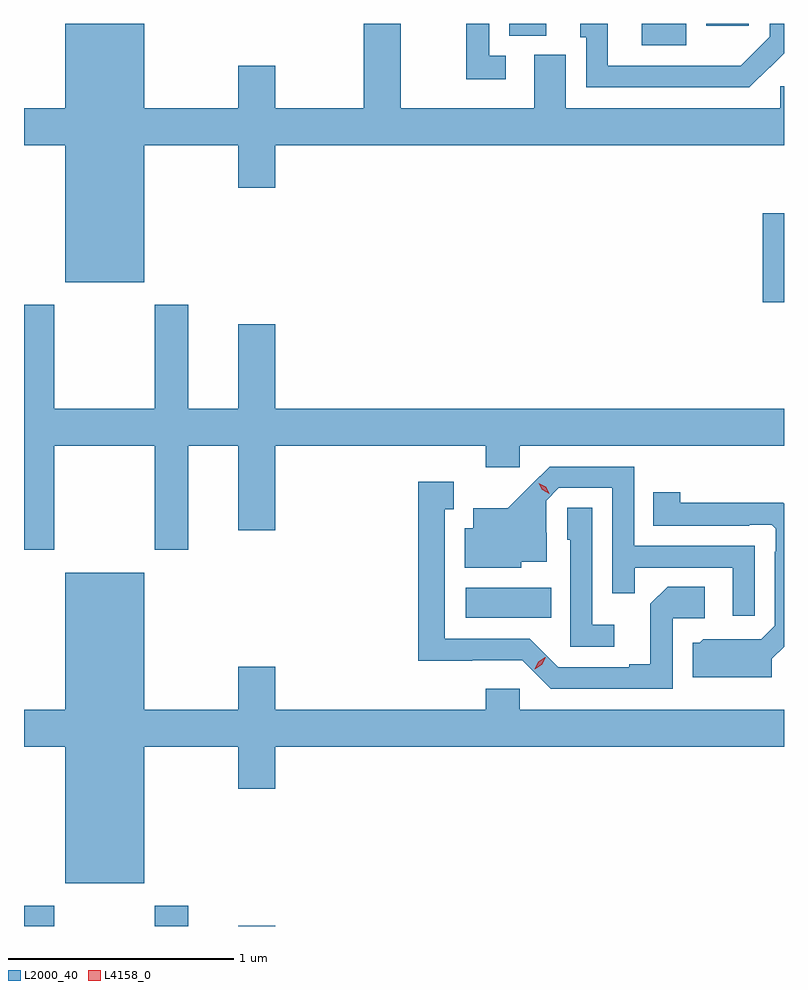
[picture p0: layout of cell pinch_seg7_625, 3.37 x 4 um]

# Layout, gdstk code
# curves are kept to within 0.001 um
import gdstk
lib = gdstk.Library(unit=1e-6, precision=1e-09)
def R(c, l, rs):  # rectangles x0, y0, x1, y1
    for r in rs: c.add(gdstk.rectangle(r[:2], r[2:], *l))
def P(c, l, *ps):  # polygons
    for p in ps: c.add(gdstk.Polygon(p, *l))
L2000_40 = (2000, 40)
L4158_0 = (4158, 0)

pinch_seg7_625 = lib.new_cell('pinch_seg7_625')
R(pinch_seg7_625, L2000_40, [(111,1018.467,111.135,1018.558), (111.58,1018.467,111.727,1018.558), (111.95,1018.467,112.114,1018.471), (112.956,1019.834,113.336,1019.968), (114.272,1021.233,114.367,1021.627), (113.15,1022.413,113.314,1022.467), (114.023,1022.457,114.211,1022.467)])
P(pinch_seg7_625, L2000_40, [(111.532,1021.928),(111.95,1021.928),(111.95,1021.74),(112.114,1021.74),(112.114,1021.928),(114.367,1021.928),(114.367,1022.19),(114.351,1022.19),(114.351,1022.092),(113.401,1022.092),(113.401,1022.328),(113.261,1022.328),(113.261,1022.092),(112.669,1022.092),(112.669,1022.467),(112.505,1022.467),(112.505,1022.092),(112.114,1022.092),(112.114,1022.281),(111.95,1022.281),(111.95,1022.092),(111.532,1022.092),(111.532,1022.467),(111.182,1022.467),(111.182,1022.092),(111,1022.092),(111,1021.928),(111.182,1021.928),(111.182,1021.322),(111.532,1021.322)],
  [(113.134,1022.325),(113.061,1022.325),(113.061,1022.467),(112.96,1022.467),(112.96,1022.22),(113.134,1022.22)],
  [(114.305,1022.275),(114.306,1022.274),(114.367,1022.335),(114.367,1022.467),(114.303,1022.467),(114.303,1022.409),(114.175,1022.281),(114.071,1022.28),(113.587,1022.28),(113.587,1022.467),(113.465,1022.467),(113.465,1022.406),(113.49,1022.406),(113.49,1022.184),(114.214,1022.184)],
  [(113.934,1022.467),(113.838,1022.467),(113.838,1022.466),(113.736,1022.466),(113.736,1022.37),(113.934,1022.37)],
  [(111.135,1020.596),(111.58,1020.596),(111.58,1020.135),(111.727,1020.135),(111.727,1020.596),(111.95,1020.596),(111.95,1020.222),(112.114,1020.222),(112.114,1020.596),(113.045,1020.596),(113.045,1020.501),(113.196,1020.501),(113.196,1020.596),(114.367,1020.596),(114.367,1020.76),(112.114,1020.76),(112.114,1021.135),(111.95,1021.135),(111.95,1020.76),(111.727,1020.76),(111.727,1021.222),(111.58,1021.222),(111.58,1020.76),(111.135,1020.76),(111.135,1021.222),(111,1021.222),(111,1020.135),(111.135,1020.135)],
  [(114.237,1020.153),(113.703,1020.153),(113.703,1020.504),(113.33,1020.504),(113.143,1020.319),(112.991,1020.319),(112.991,1020.232),(112.952,1020.232),(112.952,1020.056),(113.202,1020.056),(113.202,1020.083),(113.317,1020.083),(113.317,1020.212),(113.313,1020.212),(113.313,1020.354),(113.37,1020.411),(113.607,1020.411),(113.607,1019.944),(113.705,1019.944),(113.705,1020.057),(114.141,1020.057),(114.141,1019.844),(114.237,1019.844)],
  [(113.874,1019.832),(114.016,1019.832),(114.016,1019.972),(113.851,1019.972),(113.775,1019.896),(113.775,1019.629),(113.681,1019.629),(113.681,1019.616),(113.367,1019.616),(113.241,1019.742),(112.864,1019.742),(112.864,1020.315),(112.903,1020.315),(112.903,1020.436),(112.746,1020.436),(112.746,1019.645),(113.208,1019.646),(113.334,1019.52),(113.874,1019.52)],
  [(114.313,1019.652),(114.367,1019.706),(114.367,1020.34),(114.364,1020.343),(114.263,1020.344),(113.907,1020.344),(113.907,1020.391),(113.788,1020.391),(113.788,1020.243),(114.212,1020.243),(114.212,1020.246),(114.312,1020.246),(114.33,1020.228),(114.33,1020.128),(114.327,1020.128),(114.327,1019.799),(114.267,1019.739),(114.01,1019.74),(113.994,1019.724),(113.963,1019.724),(113.963,1019.57),(114.313,1019.57)],
  [(113.614,1019.803),(113.517,1019.803),(113.517,1020.323),(113.406,1020.323),(113.406,1020.18),(113.421,1020.18),(113.421,1019.706),(113.614,1019.706)],
  [(111.532,1019.264),(111.95,1019.264),(111.95,1019.076),(112.114,1019.076),(112.114,1019.264),(114.367,1019.264),(114.367,1019.428),(113.196,1019.428),(113.196,1019.521),(113.045,1019.521),(113.045,1019.428),(112.114,1019.428),(112.114,1019.617),(111.95,1019.617),(111.95,1019.428),(111.532,1019.428),(111.532,1020.034),(111.182,1020.034),(111.182,1019.428),(111,1019.428),(111,1019.264),(111.182,1019.264),(111.182,1018.658),(111.532,1018.658)])
P(pinch_seg7_625, L4158_0, [(113.327,1020.385),(113.297,1020.401),(113.281,1020.431),(113.281,1020.431),(113.281,1020.431),(113.311,1020.415),(113.328,1020.386),(113.328,1020.385)],
  [(113.262,1019.606),(113.262,1019.607),(113.279,1019.64),(113.31,1019.659),(113.311,1019.659),(113.311,1019.659),(113.294,1019.626),(113.262,1019.606)])

lib.write_gds('pinch_seg7_625.gds')
